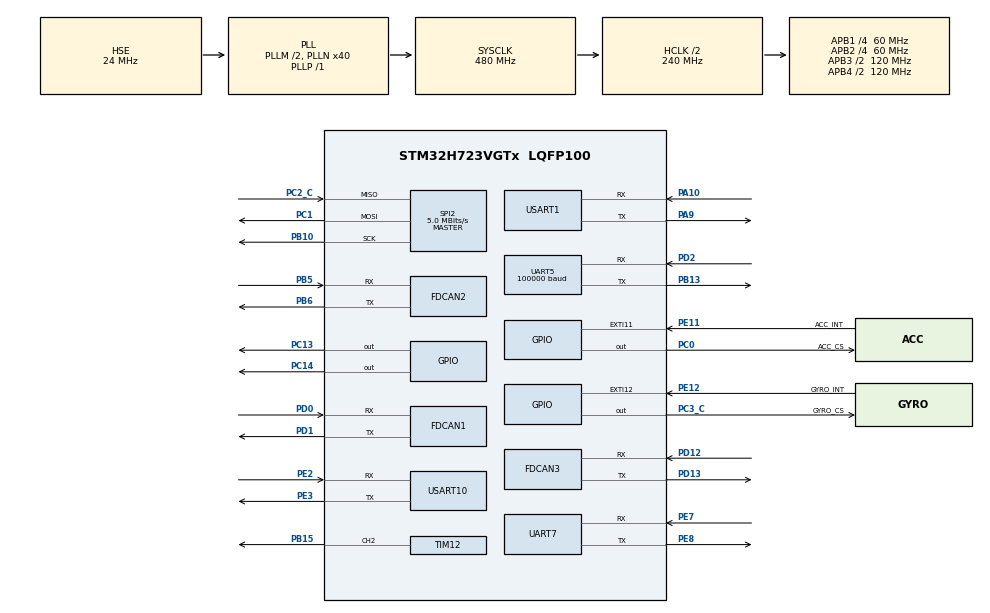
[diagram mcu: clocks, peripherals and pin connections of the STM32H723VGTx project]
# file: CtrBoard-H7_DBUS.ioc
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Dma.Request0=USART1_RX
Dma.Request1=UART5_RX
Dma.Request2=UART7_RX
Dma.Request3=USART10_RX
Dma.Request4=SPI2_RX
Dma.Request5=SPI2_TX
Dma.SPI2_RX.4.Direction=DMA_PERIPH_TO_MEMORY
Dma.SPI2_RX.4.EventEnable=DISABLE
Dma.SPI2_RX.4.FIFOMode=DMA_FIFOMODE_DISABLE
Dma.SPI2_RX.4.Instance=DMA1_Stream2
Dma.SPI2_RX.4.MemDataAlignment=DMA_MDATAALIGN_BYTE
Dma.SPI2_RX.4.MemInc=DMA_MINC_ENABLE
Dma.SPI2_RX.4.Mode=DMA_NORMAL
Dma.SPI2_RX.4.PeriphDataAlignment=DMA_PDATAALIGN_BYTE
Dma.SPI2_RX.4.PeriphInc=DMA_PINC_DISABLE
Dma.SPI2_RX.4.Polarity=HAL_DMAMUX_REQ_GEN_RISING
Dma.SPI2_RX.4.Priority=DMA_PRIORITY_VERY_HIGH
Dma.SPI2_RX.4.RequestNumber=1
Dma.SPI2_RX.4.SignalID=NONE
Dma.SPI2_RX.4.SyncEnable=DISABLE
Dma.SPI2_RX.4.SyncPolarity=HAL_DMAMUX_SYNC_NO_EVENT
Dma.SPI2_RX.4.SyncRequestNumber=1
Dma.SPI2_RX.4.SyncSignalID=NONE
Dma.SPI2_TX.5.Direction=DMA_MEMORY_TO_PERIPH
Dma.SPI2_TX.5.EventEnable=DISABLE
Dma.SPI2_TX.5.FIFOMode=DMA_FIFOMODE_DISABLE
Dma.SPI2_TX.5.Instance=DMA1_Stream5
Dma.SPI2_TX.5.MemDataAlignment=DMA_MDATAALIGN_BYTE
Dma.SPI2_TX.5.MemInc=DMA_MINC_ENABLE
Dma.SPI2_TX.5.Mode=DMA_NORMAL
Dma.SPI2_TX.5.PeriphDataAlignment=DMA_PDATAALIGN_BYTE
Dma.SPI2_TX.5.PeriphInc=DMA_PINC_DISABLE
Dma.SPI2_TX.5.Polarity=HAL_DMAMUX_REQ_GEN_RISING
Dma.SPI2_TX.5.Priority=DMA_PRIORITY_LOW
Dma.SPI2_TX.5.RequestNumber=1
Dma.SPI2_TX.5.SignalID=NONE
Dma.SPI2_TX.5.SyncEnable=DISABLE
Dma.SPI2_TX.5.SyncPolarity=HAL_DMAMUX_SYNC_NO_EVENT
Dma.SPI2_TX.5.SyncRequestNumber=1
Dma.SPI2_TX.5.SyncSignalID=NONE
Dma.UART5_RX.1.Direction=DMA_PERIPH_TO_MEMORY
Dma.UART5_RX.1.EventEnable=DISABLE
Dma.UART5_RX.1.FIFOMode=DMA_FIFOMODE_DISABLE
Dma.UART5_RX.1.Instance=DMA1_Stream1
Dma.UART5_RX.1.MemDataAlignment=DMA_MDATAALIGN_BYTE
Dma.UART5_RX.1.MemInc=DMA_MINC_ENABLE
Dma.UART5_RX.1.Mode=DMA_CIRCULAR
Dma.UART5_RX.1.PeriphDataAlignment=DMA_PDATAALIGN_BYTE
Dma.UART5_RX.1.PeriphInc=DMA_PINC_DISABLE
Dma.UART5_RX.1.Polarity=HAL_DMAMUX_REQ_GEN_RISING
Dma.UART5_RX.1.Priority=DMA_PRIORITY_HIGH
Dma.UART5_RX.1.RequestNumber=1
Dma.UART5_RX.1.SignalID=NONE
Dma.UART5_RX.1.SyncEnable=DISABLE
Dma.UART5_RX.1.SyncPolarity=HAL_DMAMUX_SYNC_NO_EVENT
Dma.UART5_RX.1.SyncRequestNumber=1
Dma.UART5_RX.1.SyncSignalID=NONE
Dma.UART7_RX.2.Direction=DMA_PERIPH_TO_MEMORY
Dma.UART7_RX.2.EventEnable=DISABLE
Dma.UART7_RX.2.FIFOMode=DMA_FIFOMODE_ENABLE
Dma.UART7_RX.2.FIFOThreshold=DMA_FIFO_THRESHOLD_FULL
Dma.UART7_RX.2.Instance=DMA1_Stream3
Dma.UART7_RX.2.MemBurst=DMA_MBURST_SINGLE
Dma.UART7_RX.2.MemDataAlignment=DMA_MDATAALIGN_BYTE
Dma.UART7_RX.2.MemInc=DMA_MINC_ENABLE
Dma.UART7_RX.2.Mode=DMA_CIRCULAR
Dma.UART7_RX.2.PeriphBurst=DMA_PBURST_SINGLE
Dma.UART7_RX.2.PeriphDataAlignment=DMA_PDATAALIGN_BYTE
Dma.UART7_RX.2.PeriphInc=DMA_PINC_DISABLE
Dma.UART7_RX.2.Polarity=HAL_DMAMUX_REQ_GEN_RISING
Dma.UART7_RX.2.Priority=DMA_PRIORITY_MEDIUM
Dma.UART7_RX.2.RequestNumber=1
Dma.UART7_RX.2.SignalID=NONE
Dma.UART7_RX.2.SyncEnable=DISABLE
Dma.UART7_RX.2.SyncPolarity=HAL_DMAMUX_SYNC_NO_EVENT
Dma.UART7_RX.2.SyncRequestNumber=1
Dma.UART7_RX.2.SyncSignalID=NONE
Dma.USART10_RX.3.Direction=DMA_PERIPH_TO_MEMORY
Dma.USART10_RX.3.EventEnable=DISABLE
Dma.USART10_RX.3.FIFOMode=DMA_FIFOMODE_ENABLE
Dma.USART10_RX.3.FIFOThreshold=DMA_FIFO_THRESHOLD_FULL
Dma.USART10_RX.3.Instance=DMA1_Stream4
Dma.USART10_RX.3.MemBurst=DMA_MBURST_SINGLE
Dma.USART10_RX.3.MemDataAlignment=DMA_MDATAALIGN_BYTE
Dma.USART10_RX.3.MemInc=DMA_MINC_ENABLE
Dma.USART10_RX.3.Mode=DMA_CIRCULAR
Dma.USART10_RX.3.PeriphBurst=DMA_PBURST_SINGLE
Dma.USART10_RX.3.PeriphDataAlignment=DMA_PDATAALIGN_BYTE
Dma.USART10_RX.3.PeriphInc=DMA_PINC_DISABLE
Dma.USART10_RX.3.Polarity=HAL_DMAMUX_REQ_GEN_RISING
Dma.USART10_RX.3.Priority=DMA_PRIORITY_LOW
Dma.USART10_RX.3.RequestNumber=1
Dma.USART10_RX.3.SignalID=NONE
Dma.USART10_RX.3.SyncEnable=DISABLE
Dma.USART10_RX.3.SyncPolarity=HAL_DMAMUX_SYNC_NO_EVENT
Dma.USART10_RX.3.SyncRequestNumber=1
Dma.USART10_RX.3.SyncSignalID=NONE
Dma.USART1_RX.0.Direction=DMA_PERIPH_TO_MEMORY
Dma.USART1_RX.0.EventEnable=DISABLE
Dma.USART1_RX.0.FIFOMode=DMA_FIFOMODE_DISABLE
Dma.USART1_RX.0.Instance=DMA1_Stream0
Dma.USART1_RX.0.MemDataAlignment=DMA_MDATAALIGN_BYTE
Dma.USART1_RX.0.MemInc=DMA_MINC_ENABLE
Dma.USART1_RX.0.Mode=DMA_NORMAL
Dma.USART1_RX.0.PeriphDataAlignment=DMA_PDATAALIGN_BYTE
Dma.USART1_RX.0.PeriphInc=DMA_PINC_DISABLE
Dma.USART1_RX.0.Polarity=HAL_DMAMUX_REQ_GEN_RISING
Dma.USART1_RX.0.Priority=DMA_PRIORITY_HIGH
Dma.USART1_RX.0.RequestNumber=1
Dma.USART1_RX.0.SignalID=NONE
Dma.USART1_RX.0.SyncEnable=DISABLE
Dma.USART1_RX.0.SyncPolarity=HAL_DMAMUX_SYNC_NO_EVENT
Dma.USART1_RX.0.SyncRequestNumber=1
Dma.USART1_RX.0.SyncSignalID=NONE
FDCAN1.AutoRetransmission=ENABLE
FDCAN1.CalculateBaudRateNominal=1000000
FDCAN1.CalculateTimeBitNominal=1000
FDCAN1.CalculateTimeQuantumNominal=12.5
FDCAN1.DataSyncJumpWidth=2
FDCAN1.DataTimeSeg1=13
FDCAN1.DataTimeSeg2=2
FDCAN1.ExtFiltersNbr=4
FDCAN1.FrameFormat=FDCAN_FRAME_CLASSIC
FDCAN1.NominalPrescaler=1
FDCAN1.NominalSyncJumpWidth=20
FDCAN1.NominalTimeSeg1=59
FDCAN1.NominalTimeSeg2=20
FDCAN1.ProtocolException=ENABLE
FDCAN1.RxBuffersNbr=2
FDCAN1.RxFifo0ElmtsNbr=10
FDCAN1.RxFifo1ElmtsNbr=20
FDCAN1.StdFiltersNbr=4
FDCAN1.TxBuffersNbr=10
FDCAN1.TxEventsNbr=10
FDCAN1.TxFifoQueueElmtsNbr=10
FDCAN2.CalculateBaudRateNominal=1000000
FDCAN2.CalculateTimeBitNominal=1000
FDCAN2.CalculateTimeQuantumNominal=200.0
FDCAN2.FrameFormat=FDCAN_FRAME_FD_BRS
FDCAN3.CalculateBaudRateNominal=1000000
FDCAN3.CalculateTimeBitNominal=1000
FDCAN3.CalculateTimeQuantumNominal=200.0
FDCAN3.FrameFormat=FDCAN_FRAME_FD_BRS
FREERTOS.Tasks01=defaultTask,-2,128,StartDefaultTask,Default,NULL,Dynamic,NULL,NULL;canTask,-2,128,CanTaskEntry,As external,NULL,Dynamic,NULL,NULL;MotorTask,0,128,MotorTaskEntry,As external,NULL,Dynamic,NULL,NULL
Mcu.Family=STM32H7
Mcu.Name=STM32H723VGTx
Mcu.Package=LQFP100
NVIC.DMA1_Stream0_IRQn=true\:5\:0\:false\:false\:true\:true\:false\:true\:true
NVIC.DMA1_Stream1_IRQn=true\:5\:0\:false\:false\:true\:true\:false\:true\:true
NVIC.DMA1_Stream2_IRQn=true\:5\:0\:false\:false\:true\:true\:false\:true\:true
NVIC.DMA1_Stream3_IRQn=true\:5\:0\:false\:false\:true\:true\:false\:true\:true
NVIC.DMA1_Stream4_IRQn=true\:5\:0\:false\:false\:true\:true\:false\:true\:true
NVIC.DMA1_Stream5_IRQn=true\:5\:0\:false\:false\:true\:true\:false\:true\:true
NVIC.PriorityGroup=NVIC_PRIORITYGROUP_4
NVIC.SPI2_IRQn=true\:5\:0\:false\:false\:true\:true\:false\:true\:true
NVIC.TIM1_UP_IRQn=true\:15\:0\:false\:false\:true\:false\:false\:true\:true
NVIC.TimeBase=TIM1_UP_IRQn
NVIC.TimeBaseIP=TIM1
NVIC.UART5_IRQn=true\:5\:0\:false\:false\:true\:true\:true\:true\:true
NVIC.USART1_IRQn=true\:5\:0\:false\:false\:true\:true\:true\:true\:true
PA10.Mode=Asynchronous
PA10.Signal=USART1_RX
PA13(JTMS/SWDIO).Mode=Serial_Wire
PA13(JTMS/SWDIO).Signal=DEBUG_JTMS-SWDIO
PA14(JTCK/SWCLK).Mode=Serial_Wire
PA14(JTCK/SWCLK).Signal=DEBUG_JTCK-SWCLK
PA9.Mode=Asynchronous
PA9.Signal=USART1_TX
PB10.Mode=Full_Duplex_Master
PB10.Signal=SPI2_SCK
PB13.Mode=Asynchronous
PB13.Signal=UART5_TX
PB15.Signal=S_TIM12_CH2
PB5.Mode=FDCAN_Activate
PB5.Signal=FDCAN2_RX
PB6.Mode=FDCAN_Activate
PB6.Signal=FDCAN2_TX
PC0.GPIO_Label=ACC_CS
PC0.GPIO_Speed=GPIO_SPEED_FREQ_VERY_HIGH
PC0.PinState=GPIO_PIN_SET
PC0.Signal=GPIO_Output
PC1.Mode=Full_Duplex_Master
PC1.Signal=SPI2_MOSI
PC13.Signal=GPIO_Output
PC14-OSC32_IN.Signal=GPIO_Output
PC2_C.Mode=Full_Duplex_Master
PC2_C.Signal=SPI2_MISO
PC3_C.GPIO_Label=GYRO_CS
PC3_C.GPIO_Speed=GPIO_SPEED_FREQ_VERY_HIGH
PC3_C.PinState=GPIO_PIN_SET
PC3_C.Signal=GPIO_Output
PD0.Mode=FDCAN_Activate
PD0.Signal=FDCAN1_RX
PD1.Mode=FDCAN_Activate
PD1.Signal=FDCAN1_TX
PD12.Mode=FDCAN_Activate
PD12.Signal=FDCAN3_RX
PD13.Mode=FDCAN_Activate
PD13.Signal=FDCAN3_TX
PD2.Mode=Asynchronous
PD2.Signal=UART5_RX
PE11.GPIO_Label=ACC_INT
PE11.Signal=GPXTI11
PE12.GPIO_Label=GYRO_INT
PE12.Signal=GPXTI12
PE2.Mode=Asynchronous
PE2.Signal=USART10_RX
PE3.Mode=Asynchronous
PE3.Signal=USART10_TX
PE7.Mode=Asynchronous
PE7.Signal=UART7_RX
PE8.Mode=Asynchronous
PE8.Signal=UART7_TX
PH0-OSC_IN.Mode=HSE-External-Oscillator
PH0-OSC_IN.Signal=RCC_OSC_IN
PH1-OSC_OUT.Mode=HSE-External-Oscillator
PH1-OSC_OUT.Signal=RCC_OSC_OUT
ProjectManager.HeapSize=0x2000
ProjectManager.StackSize=0x400
ProjectManager.TargetToolchain=CMake
RCC.ADCFreq_Value=48375000
RCC.APB1Freq_Value=60000000
RCC.APB2Freq_Value=60000000
RCC.APB3Freq_Value=120000000
RCC.APB4Freq_Value=120000000
RCC.CortexFreq_Value=480000000
RCC.D1PPRE=RCC_APB3_DIV2
RCC.D2PPRE1=RCC_APB1_DIV4
RCC.D2PPRE2=RCC_APB2_DIV4
RCC.D3PPRE=RCC_APB4_DIV2
RCC.DIVM1=2
RCC.DIVN1=40
RCC.DIVP1=1
RCC.DIVQ1=6
RCC.FLatency-AdvancedSettings=FLASH_LATENCY_3
RCC.HCLKFreq_Value=240000000
RCC.HPRE=RCC_HCLK_DIV2
RCC.HSE_VALUE=24000000
RCC.PLL2FRACN=0
RCC.PLL3FRACN=0
RCC.PLL3_VCO_SEL-AdvancedSettings=RCC_PLL3VCOWIDE
RCC.PLLFRACN=0
RCC.PLLSourceVirtual=RCC_PLLSOURCE_HSE
RCC.SYSCLKFreq_VALUE=480000000
RCC.SYSCLKSource=RCC_SYSCLKSOURCE_PLLCLK
RCC.USBCLockSelection=RCC_USBCLKSOURCE_HSI48
RCC.USBFreq_Value=48000000
SH.S_TIM12_CH2.0=TIM12_CH2,PWM Generation2 CH2
SPI2.BaudRatePrescaler=SPI_BAUDRATEPRESCALER_16
SPI2.CalculateBaudRate=5.0 MBits/s
SPI2.DataSize=SPI_DATASIZE_8BIT
SPI2.Direction=SPI_DIRECTION_2LINES
SPI2.Mode=SPI_MODE_MASTER
SPI2.VirtualType=VM_MASTER
TIM12.Channel-PWM\ Generation2\ CH2=TIM_CHANNEL_2
TIM12.Period=299
TIM12.Prescaler=999
TIM12.Pulse-PWM\ Generation2\ CH2=30
UART5.BaudRate=100000
UART5.Parity=PARITY_EVEN
UART5.StopBits=UART_STOPBITS_2
UART5.WordLength=WORDLENGTH_9B
USART1.VirtualMode-Asynchronous=VM_ASYNC
USART10.VirtualMode=VM_ASYNC
VP_FREERTOS_VS_CMSIS_V1.Mode=CMSIS_V1
VP_SYS_VS_tim1.Mode=TIM1
VP_TIM12_VS_ClockSourceINT.Mode=Internal
board=custom

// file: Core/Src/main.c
/* USER CODE BEGIN Header */
/**
  ******************************************************************************
  * @file           : main.c
  * @brief          : Main program body
  ******************************************************************************
  * @attention
  *
  * Copyright (c) 2024 STMicroelectronics.
  * All rights reserved.
  *
  * This software is licensed under terms that can be found in the LICENSE file
  * in the root directory of this software component.
  * If no LICENSE file comes with this software, it is provided AS-IS.
  *
  ******************************************************************************
  */
/* USER CODE END Header */
#include "main.h"
#include "cmsis_os.h"
#include "dma.h"
#include "fdcan.h"
#include "spi.h"
#include "tim.h"
#include "usart.h"
#include "gpio.h"

/* USER CODE BEGIN Includes */
#include "uart_bsp.h"
#include "bsp_fdcan.h"
#include "dm_motor_ctrl.h"
#include <stdarg.h>
#include <stdio.h>
/* USER CODE END Includes */

/* USER CODE BEGIN PD */
void usart_printf(const char *fmt,...)
{
    static uint8_t tx_buf[256] = {0};
    static va_list ap;
    static uint16_t len;
    va_start(ap, fmt);

    len = vsprintf((char *)tx_buf, fmt, ap);

    va_end(ap);
    HAL_UART_Transmit(&huart7, tx_buf, len, 0xffff);

}
/* USER CODE END PD */

void SystemClock_Config(void);
void MX_FREERTOS_Init(void);

int main(void)
{

  /* MCU Configuration--------------------------------------------------------*/

  /* Reset of all peripherals, Initializes the Flash interface and the Systick. */
  HAL_Init();

  /* Configure the system clock */
  SystemClock_Config();

  /* Initialize all configured peripherals */
  MX_GPIO_Init();
  MX_DMA_Init();
  MX_USART1_UART_Init();
  MX_UART5_Init();
  MX_FDCAN1_Init();
  MX_FDCAN2_Init();
  MX_FDCAN3_Init();
  MX_TIM12_Init();
  MX_UART7_Init();
  MX_USART10_UART_Init();
  MX_SPI2_Init();
  /* USER CODE BEGIN 2 */
  bsp_can_init();

  channels = get_remoter();
  channels->data_updated = 0;  // 初始化时清零标志位
  BSP_USART_Init();

  /* USER CODE END 2 */

  /* Call init function for freertos objects (in freertos.c) */
  MX_FREERTOS_Init();

  /* Start scheduler */
  osKernelStart();

  /* We should never get here as control is now taken by the scheduler */
  /* Infinite loop */
  while (1)
  {

  }
}

void SystemClock_Config(void)
{
  RCC_OscInitTypeDef RCC_OscInitStruct = {0};
  RCC_ClkInitTypeDef RCC_ClkInitStruct = {0};

  /** Supply configuration update enable
  */
  HAL_PWREx_ConfigSupply(PWR_LDO_SUPPLY);

  /** Configure the main internal regulator output voltage
  */
  __HAL_PWR_VOLTAGESCALING_CONFIG(PWR_REGULATOR_VOLTAGE_SCALE0);

  while(!__HAL_PWR_GET_FLAG(PWR_FLAG_VOSRDY)) {}

  /** Initializes the RCC Oscillators according to the specified parameters
  * in the RCC_OscInitTypeDef structure.
  */
  RCC_OscInitStruct.OscillatorType = RCC_OSCILLATORTYPE_HSE;
  RCC_OscInitStruct.HSEState = RCC_HSE_ON;
  RCC_OscInitStruct.PLL.PLLState = RCC_PLL_ON;
  RCC_OscInitStruct.PLL.PLLSource = RCC_PLLSOURCE_HSE;
  RCC_OscInitStruct.PLL.PLLM = 2;
  RCC_OscInitStruct.PLL.PLLN = 40;
  RCC_OscInitStruct.PLL.PLLP = 1;
  RCC_OscInitStruct.PLL.PLLQ = 6;
  RCC_OscInitStruct.PLL.PLLR = 2;
  RCC_OscInitStruct.PLL.PLLRGE = RCC_PLL1VCIRANGE_3;
  RCC_OscInitStruct.PLL.PLLVCOSEL = RCC_PLL1VCOWIDE;
  RCC_OscInitStruct.PLL.PLLFRACN = 0;
  if (HAL_RCC_OscConfig(&RCC_OscInitStruct) != HAL_OK)
  {
    Error_Handler();
  }

  /** Initializes the CPU, AHB and APB buses clocks
  */
  RCC_ClkInitStruct.ClockType = RCC_CLOCKTYPE_HCLK|RCC_CLOCKTYPE_SYSCLK
                              |RCC_CLOCKTYPE_PCLK1|RCC_CLOCKTYPE_PCLK2
                              |RCC_CLOCKTYPE_D3PCLK1|RCC_CLOCKTYPE_D1PCLK1;
  RCC_ClkInitStruct.SYSCLKSource = RCC_SYSCLKSOURCE_PLLCLK;
  RCC_ClkInitStruct.SYSCLKDivider = RCC_SYSCLK_DIV1;
  RCC_ClkInitStruct.AHBCLKDivider = RCC_HCLK_DIV2;
  RCC_ClkInitStruct.APB3CLKDivider = RCC_APB3_DIV2;
  RCC_ClkInitStruct.APB1CLKDivider = RCC_APB1_DIV4;
  RCC_ClkInitStruct.APB2CLKDivider = RCC_APB2_DIV4;
  RCC_ClkInitStruct.APB4CLKDivider = RCC_APB4_DIV2;

  if (HAL_RCC_ClockConfig(&RCC_ClkInitStruct, FLASH_LATENCY_3) != HAL_OK)
  {
    Error_Handler();
  }
}

void HAL_TIM_PeriodElapsedCallback(TIM_HandleTypeDef *htim)
{
  /* USER CODE BEGIN Callback 0 */
    // if (htim->Instance == TIM3) {

    //     read_all_motor_data(&motor[Motor1]);

    //     if(motor[Motor1].tmp.read_flag == 0)
    //     dm_motor_ctrl_send(&hfdcan1, &motor[Motor1]);
    // }
  /* USER CODE END Callback 0 */
  if (htim->Instance == TIM1) {
    HAL_IncTick();
  }
}

void Error_Handler(void)
{
  __disable_irq();
  while (1)
  {
  }
}

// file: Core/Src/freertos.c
/* USER CODE BEGIN Header */
/**
  ******************************************************************************
  * File Name          : freertos.c
  * Description        : Code for freertos applications
  ******************************************************************************
  * @attention
  *
  * Copyright (c) 2025 STMicroelectronics.
  * All rights reserved.
  *
  * This software is licensed under terms that can be found in the LICENSE file
  * in the root directory of this software component.
  * If no LICENSE file comes with this software, it is provided AS-IS.
  *
  ******************************************************************************
  */
/* USER CODE END Header */

#include "FreeRTOS.h"
#include "task.h"
#include "main.h"
#include "cmsis_os.h"

/* USER CODE BEGIN Includes */
#include "uart_bsp.h"
#include "can_task.h"
#include "motor_task.h"
#include "usart.h"
#include "tim.h"
/* USER CODE END Includes */

osThreadId defaultTaskHandle;
osThreadId canTaskHandle;
osThreadId MotorTaskHandle;

void StartDefaultTask(void const * argument);
extern void CanTaskEntry(void const * argument);
extern void MotorTaskEntry(void const * argument);

void MX_FREERTOS_Init(void); /* (MISRA C 2004 rule 8.1) */

/* GetIdleTaskMemory prototype (linked to static allocation support) */
void vApplicationGetIdleTaskMemory( StaticTask_t **ppxIdleTaskTCBBuffer, StackType_t **ppxIdleTaskStackBuffer, uint32_t *pulIdleTaskStackSize );

/* USER CODE BEGIN GET_IDLE_TASK_MEMORY */
static StaticTask_t xIdleTaskTCBBuffer;
static StackType_t xIdleStack[configMINIMAL_STACK_SIZE];

void vApplicationGetIdleTaskMemory( StaticTask_t **ppxIdleTaskTCBBuffer, StackType_t **ppxIdleTaskStackBuffer, uint32_t *pulIdleTaskStackSize )
{
  *ppxIdleTaskTCBBuffer = &xIdleTaskTCBBuffer;
  *ppxIdleTaskStackBuffer = &xIdleStack[0];
  *pulIdleTaskStackSize = configMINIMAL_STACK_SIZE;
  /* place for user code */
}
/* USER CODE END GET_IDLE_TASK_MEMORY */

void MX_FREERTOS_Init(void) {

  /* Create the thread(s) */
  /* definition and creation of defaultTask */
  osThreadDef(defaultTask, StartDefaultTask, osPriorityLow, 0, 128);
  defaultTaskHandle = osThreadCreate(osThread(defaultTask), NULL);

  /* definition and creation of canTask */
  osThreadDef(canTask, CanTaskEntry, osPriorityLow, 0, 128);
  canTaskHandle = osThreadCreate(osThread(canTask), NULL);

  /* definition and creation of MotorTask */
  osThreadDef(MotorTask, MotorTaskEntry, osPriorityNormal, 0, 128);
  MotorTaskHandle = osThreadCreate(osThread(MotorTask), NULL);

}

void StartDefaultTask(void const * argument)
{
  /* USER CODE BEGIN StartDefaultTask */
  /* Infinite loop */
  for(;;)
  {
    osDelay(10);
  }
  /* USER CODE END StartDefaultTask */
}
